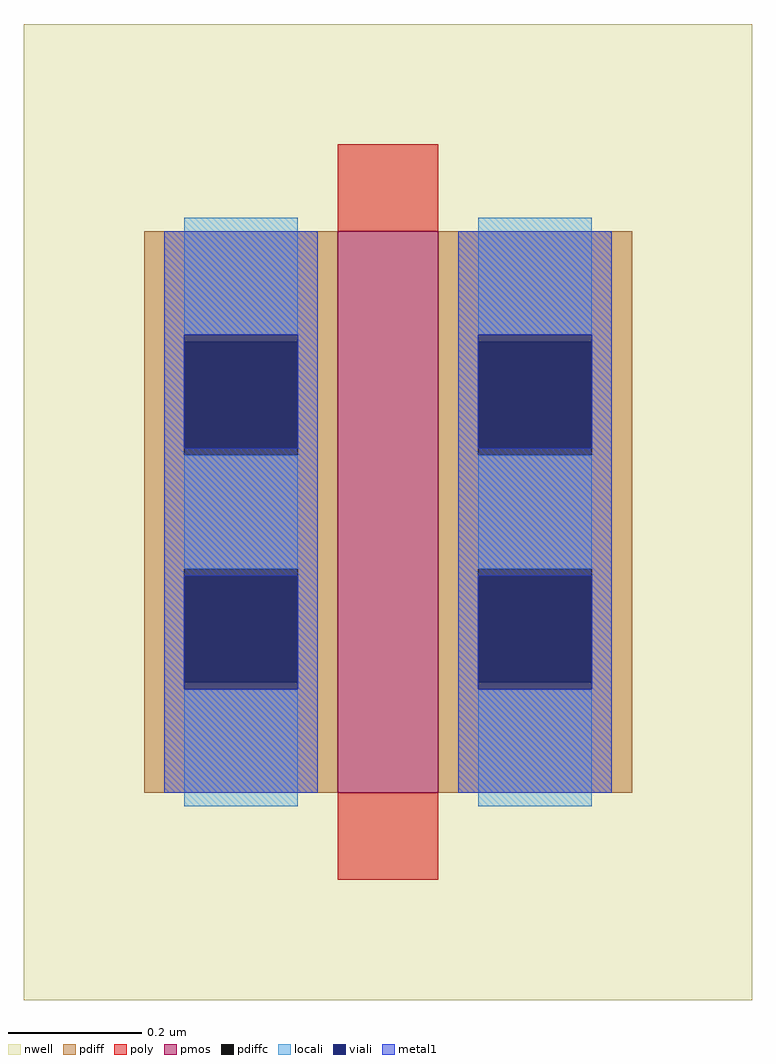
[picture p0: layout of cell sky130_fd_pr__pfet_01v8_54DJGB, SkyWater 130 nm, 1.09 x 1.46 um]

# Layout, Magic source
magic
tech sky130A
magscale 1 2
<< nwell >>
rect -109 -146 109 146
<< pmos >>
rect -15 -84 15 84
<< pdiff >>
rect -73 51 -15 84
rect -73 17 -61 51
rect -27 17 -15 51
rect -73 -17 -15 17
rect -73 -51 -61 -17
rect -27 -51 -15 -17
rect -73 -84 -15 -51
rect 15 51 73 84
rect 15 17 27 51
rect 61 17 73 51
rect 15 -17 73 17
rect 15 -51 27 -17
rect 61 -51 73 -17
rect 15 -84 73 -51
<< pdiffc >>
rect -61 17 -27 51
rect -61 -51 -27 -17
rect 27 17 61 51
rect 27 -51 61 -17
<< poly >>
rect -15 84 15 110
rect -15 -110 15 -84
<< locali >>
rect -61 53 -27 88
rect -61 -17 -27 17
rect -61 -88 -27 -53
rect 27 53 61 88
rect 27 -17 61 17
rect 27 -88 61 -53
<< viali >>
rect -61 51 -27 53
rect -61 19 -27 51
rect -61 -51 -27 -19
rect -61 -53 -27 -51
rect 27 51 61 53
rect 27 19 61 51
rect 27 -51 61 -19
rect 27 -53 61 -51
<< metal1 >>
rect -67 53 -21 84
rect -67 19 -61 53
rect -27 19 -21 53
rect -67 -19 -21 19
rect -67 -53 -61 -19
rect -27 -53 -21 -19
rect -67 -84 -21 -53
rect 21 53 67 84
rect 21 19 27 53
rect 61 19 67 53
rect 21 -19 67 19
rect 21 -53 27 -19
rect 61 -53 67 -19
rect 21 -84 67 -53
<< end >>
